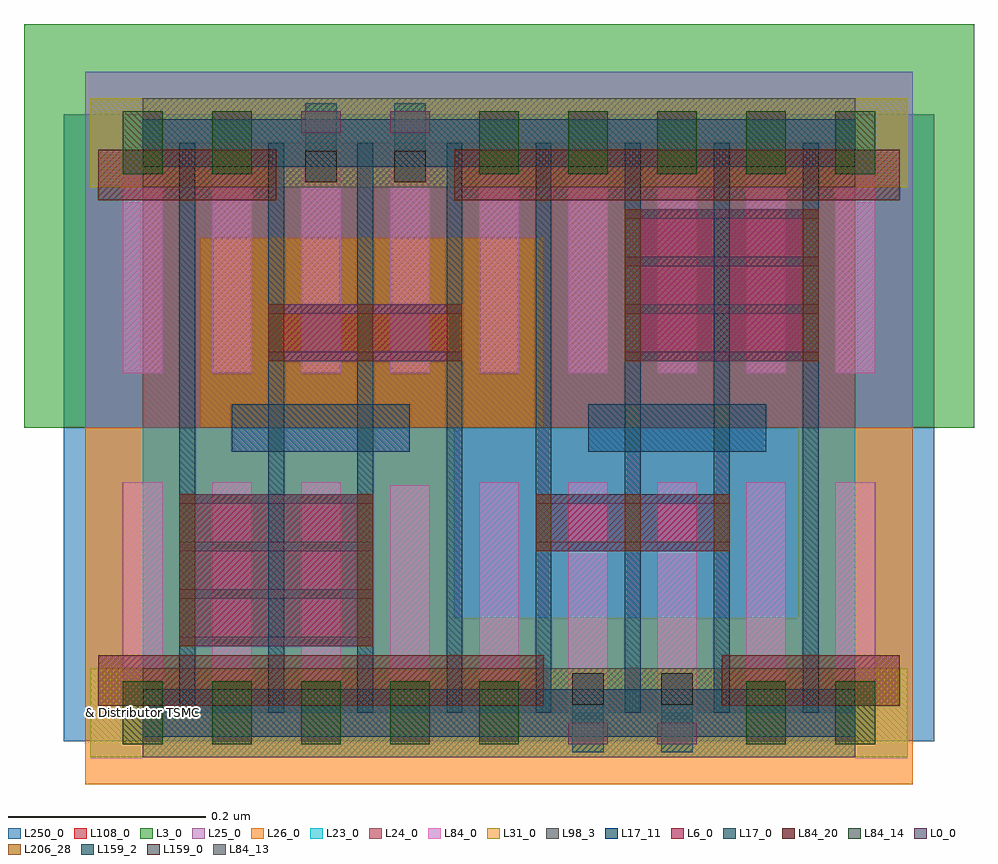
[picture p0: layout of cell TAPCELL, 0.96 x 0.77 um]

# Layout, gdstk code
import gdstk
lib = gdstk.Library(unit=1e-6, precision=1e-09)
def R(c, l, rs):  # rectangles x0, y0, x1, y1
    for r in rs: c.add(gdstk.rectangle(r[:2], r[2:], *l))
def A(c, l, x, y, w, h, nx, ny, dx, dy):  # array of equal rectangles
    R(c, l, [(x+i*dx, y+j*dy, x+i*dx+w, y+j*dy+h) for i in range(nx) for j in range(ny)])
def P(c, l, *ps):  # polygons
    for p in ps: c.add(gdstk.Polygon(p, *l))
L0_0 = (0, 0)
L3_0 = (3, 0)
L6_0 = (6, 0)
L17_0 = (17, 0)
L17_11 = (17, 11)
L23_0 = (23, 0)
L24_0 = (24, 0)
L25_0 = (25, 0)
L26_0 = (26, 0)
L31_0 = (31, 0)
L84_0 = (84, 0)
L84_13 = (84, 13)
L84_14 = (84, 14)
L84_20 = (84, 20)
L98_3 = (98, 3)
L108_0 = (108, 0)
L159_0 = (159, 0)
L159_2 = (159, 2)
L206_28 = (206, 28)
L250_0 = (250, 0)

tapcell = lib.new_cell('TAPCELL')
A(tapcell, L0_0, 0.037, 0.067, 0.196, 0.01, 1, 4, 0, 0.048)
A(tapcell, L0_0, 0.487, 0.355, 0.196, 0.01, 1, 4, 0, 0.048)
R(tapcell, L0_0, [(0.397,0.163,0.593,0.173), (0.397,0.211,0.593,0.221), (0.127,0.355,0.323,0.365), (0.127,0.403,0.323,0.413)])
R(tapcell, L3_0, [(-0.12,0.288,0.84,0.696)])
R(tapcell, L6_0, [(0.037,0.067,0.233,0.221), (0.397,0.163,0.593,0.221), (0.127,0.355,0.323,0.413), (0.487,0.355,0.683,0.509)])
A(tapcell, L17_0, 0.037, 0, 0.016, 0.576, 8, 1, 0.09, 0)
R(tapcell, L17_11, [(0,-0.024,0.72,0.024), (0.09,0.264,0.27,0.312), (0.45,0.264,0.63,0.312), (0,0.552,0.72,0.6)])
R(tapcell, L23_0, [(0,0,0.72,0.288)])
R(tapcell, L24_0, [(0,0.288,0.72,0.576)])
P(tapcell, L25_0, [(-0.058,0.648),(0.778,0.648),(0.778,0.288),(0.662,0.288),(0.662,0.096),(0.315,0.096),(0.315,0.288),(0.405,0.288),(0.405,0.48),(0.058,0.48),(0.058,0.288),(-0.058,0.288)])
P(tapcell, L26_0, [(-0.058,0.288),(0.058,0.288),(0.058,0.48),(0.405,0.48),(0.405,0.288),(0.315,0.288),(0.315,0.096),(0.662,0.096),(0.662,0.288),(0.778,0.288),(0.778,-0.072),(-0.058,-0.072)])
R(tapcell, L31_0, [(-0.053,-0.045,0.773,0.045), (-0.053,0.531,0.773,0.621)])
A(tapcell, L84_0, -0.02, 0.032, 0.04, 0.201, 3, 1, 0.09, 0)
A(tapcell, L84_0, 0.34, 0.343, 0.04, 0.201, 5, 1, 0.09, 0)
R(tapcell, L84_0, [(0.43,-0.01,0.47,0.233), (0.52,-0.01,0.56,0.233), (0.25,0.032,0.29,0.23), (0.34,0.032,0.38,0.233), (0.61,0.032,0.65,0.233), (0.7,0.032,0.74,0.233), (-0.02,0.343,0.02,0.544), (0.07,0.343,0.11,0.544), (0.16,0.343,0.2,0.586), (0.25,0.343,0.29,0.586)])
R(tapcell, L84_13, [(0.43,-0.032,0.47,-0.01), (0.52,-0.032,0.56,-0.01), (0.16,0.586,0.2,0.608), (0.25,0.586,0.29,0.608)])
A(tapcell, L84_14, -0.02, -0.032, 0.04, 0.064, 5, 1, 0.09, 0)
A(tapcell, L84_14, 0.34, 0.544, 0.04, 0.064, 5, 1, 0.09, 0)
R(tapcell, L84_14, [(0.61,-0.032,0.65,0.032), (0.7,-0.032,0.74,0.032), (-0.02,0.544,0.02,0.608), (0.07,0.544,0.11,0.608)])
R(tapcell, L84_20, [(-0.045,0.007,0.405,0.058), (0.585,0.007,0.765,0.058), (-0.045,0.518,0.135,0.569), (0.315,0.518,0.765,0.569)])
R(tapcell, L98_3, [(0,-0.045,0.72,0.045), (0,0.531,0.72,0.621)])
R(tapcell, L108_0, [(0,0,0.72,0.576)])
R(tapcell, L159_0, [(0.434,0.008,0.466,0.04), (0.524,0.008,0.556,0.04), (0.164,0.536,0.196,0.568), (0.254,0.536,0.286,0.568)])
R(tapcell, L159_2, [(0.434,-0.04,0.466,0.04), (0.524,-0.04,0.556,0.04), (0.164,0.536,0.196,0.616), (0.254,0.536,0.286,0.616)])
A(tapcell, L206_28, 0.397, 0.163, 0.016, 0.058, 3, 1, 0.09, 0)
A(tapcell, L206_28, 0.127, 0.355, 0.016, 0.058, 3, 1, 0.09, 0)
R(tapcell, L206_28, [(0.037,0.067,0.053,0.221), (0.217,0.067,0.233,0.221), (0.487,0.355,0.503,0.509), (0.667,0.355,0.683,0.509)])
R(tapcell, L250_0, [(-0.08,-0.029,0.8,0.605)])
tapcell.add(gdstk.Label('& Distributor TSMC', (0,0), layer=3, texttype=0))
tapcell.add(gdstk.Label('& Metric 0.415', (0,0), layer=3, texttype=0))
tapcell.add(gdstk.Label('& Product N16ADFP_StdCell', (0,0), layer=3, texttype=0))
tapcell.add(gdstk.Label('& SerialNumber 000000', (0,0), layer=3, texttype=0))
tapcell.add(gdstk.Label('& Vendor Taiwan Semiconductor Manufacturing Corp.', (0,0), layer=3, texttype=0))
tapcell.add(gdstk.Label('& Version 100b', (0,0), layer=3, texttype=0))
tapcell.add(gdstk.Label('& _Instance_tag TAPCELLBWP16P90', (0,0), layer=3, texttype=0))
tapcell.add(gdstk.Label('& Distributor TSMC', (0,0), layer=6, texttype=0))
tapcell.add(gdstk.Label('& Metric 0.415', (0,0), layer=6, texttype=0))
tapcell.add(gdstk.Label('& Product N16ADFP_StdCell', (0,0), layer=6, texttype=0))
tapcell.add(gdstk.Label('& SerialNumber 000000', (0,0), layer=6, texttype=0))
tapcell.add(gdstk.Label('& Vendor Taiwan Semiconductor Manufacturing Corp.', (0,0), layer=6, texttype=0))
tapcell.add(gdstk.Label('& Version 100b', (0,0), layer=6, texttype=0))
tapcell.add(gdstk.Label('& _Instance_tag TAPCELLBWP16P90', (0,0), layer=6, texttype=0))
tapcell.add(gdstk.Label('& Distributor TSMC', (0,0), layer=63, texttype=63))
tapcell.add(gdstk.Label('& Metric 0.415', (0,0), layer=63, texttype=63))
tapcell.add(gdstk.Label('& Product N16ADFP_StdCell', (0,0), layer=63, texttype=63))
tapcell.add(gdstk.Label('& SerialNumber 000000', (0,0), layer=63, texttype=63))
tapcell.add(gdstk.Label('& Vendor Taiwan Semiconductor Manufacturing Corp.', (0,0), layer=63, texttype=63))
tapcell.add(gdstk.Label('& Version 100b', (0,0), layer=63, texttype=63))
tapcell.add(gdstk.Label('& _Instance_tag TAPCELLBWP16P90', (0,0), layer=63, texttype=63))

lib.write_gds('TAPCELL.gds')
